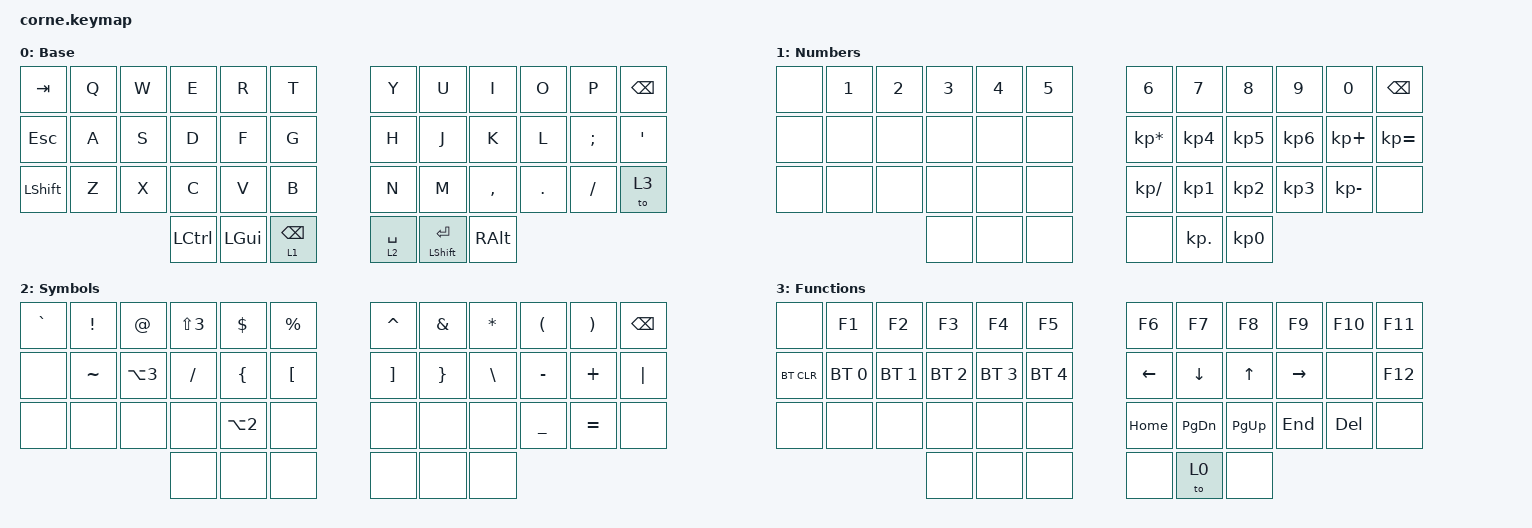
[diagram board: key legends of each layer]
/*
 * Copyright (c) 2020 The ZMK Contributors
 *
 * SPDX-License-Identifier: MIT
 */

#include <behaviors.dtsi>
#include <dt-bindings/zmk/bt.h>
#include <dt-bindings/zmk/keys.h>

/ {
    keymap {
        compatible = "zmk,keymap";

        default_layer {
            // -----------------------------------------------------------------------------------------
            // |  TAB |  Q  |  W  |  E  |  R  |  T  |   |  Y  |  U   |  I  |  O  |  P  | BKSP |
            // | CTRL |  A  |  S  |  D  |  F  |  G  |   |  H  |  J   |  K  |  L  |  ;  |  '   |
            // | SHFT |  Z  |  X  |  C  |  V  |  B  |   |  N  |  M   |  ,  |  .  |  /  | ESC  |
            //                    | GUI | LWR | SPC |   | ENT | RSE  | ALT |

            display-name = "Base";
            bindings = <
&kp TAB     &kp Q  &kp W  &kp E      &kp R         &kp T              &kp Y        &kp U            &kp I      &kp O    &kp P     &kp BSPC
&kp ESCAPE  &kp A  &kp S  &kp D      &kp F         &kp G              &kp H        &kp J            &kp K      &kp L    &kp SEMI  &kp SQT
&kp LSHFT   &kp Z  &kp X  &kp C      &kp V         &kp B              &kp N        &kp M            &kp COMMA  &kp DOT  &kp FSLH  &to 3
                          &kp LCTRL  &kp LEFT_GUI  &lt 1 BACKSPACE    &lt 2 SPACE  &mt LSHFT ENTER  &kp RALT
            >;
        };

        nums {
            // -----------------------------------------------------------------------------------------
            // |  TAB |  !  |  @  |  #  |  $  |  %  |   |  ^  |  &  |  *  |  (  |  )  | BKSP |
            // | CTRL |     |     |     |     |     |   |  -  |  =  |  [  |  ]  |  \  |  `   |
            // | SHFT |     |     |     |     |     |   |  _  |  +  |  {  |  }  | "|" |  ~   |
            //                    | GUI |     | SPC |   | ENT |     | ALT |

            display-name = "Numbers";
            bindings = <
&none  &kp NUMBER_1  &kp NUMBER_2  &kp NUMBER_3  &kp NUMBER_4  &kp NUMBER_5    &kp NUMBER_6     &kp NUMBER_7     &kp NUMBER_8     &kp NUMBER_9     &kp NUMBER_0  &kp BSPC
&none  &none         &none         &none         &none         &none           &kp KP_MULTIPLY  &kp KP_NUMBER_4  &kp KP_NUMBER_5  &kp KP_NUMBER_6  &kp KP_PLUS   &kp KP_EQUAL
&none  &none         &none         &none         &none         &none           &kp KP_DIVIDE    &kp KP_NUMBER_1  &kp KP_NUMBER_2  &kp KP_NUMBER_3  &kp KP_MINUS  &none
                                   &none         &none         &none           &none            &kp KP_DOT       &kp KP_NUMBER_0
            >;
        };

        symbols {
            bindings = <
&kp GRAVE  &kp EXCLAMATION  &kp AT_SIGN       &kp LS(NUMBER_3)  &kp DOLLAR      &kp PERCENT         &kp CARET          &kp AMPERSAND    &kp ASTERISK   &kp LEFT_PARENTHESIS  &kp RIGHT_PARENTHESIS  &kp BACKSPACE
&none      &kp TILDE        &kp LA(NUMBER_3)  &kp SLASH         &kp LEFT_BRACE  &kp LEFT_BRACKET    &kp RIGHT_BRACKET  &kp RIGHT_BRACE  &kp BACKSLASH  &kp MINUS             &kp PLUS               &kp PIPE
&none      &none            &none             &none             &kp LA(N2)      &none               &none              &none            &none          &kp UNDERSCORE        &kp EQUAL              &none
                                              &none             &none           &none               &none              &none            &none
            >;

            label = "Symbols";
        };

        functions {
            // -----------------------------------------------------------------------------------------
            // |  TAB |  1  |  2  |  3  |  4  |  5  |   |  6  |  7  |  8  |  9  |  0  | BKSP |
            // | BTCLR| BT1 | BT2 | BT3 | BT4 | BT5 |   | LFT | DWN |  UP | RGT |     |      |
            // | SHFT |     |     |     |     |     |   |     |     |     |     |     |      |
            //                    | GUI |     | SPC |   | ENT |     | ALT |

            display-name = "Functions";
            bindings = <
&none       &kp F1        &kp F2        &kp F3        &kp F4        &kp F5          &kp F6    &kp F7         &kp F8       &kp F9     &kp F10     &kp F11
&bt BT_CLR  &bt BT_SEL 0  &bt BT_SEL 1  &bt BT_SEL 2  &bt BT_SEL 3  &bt BT_SEL 4    &kp LEFT  &kp DOWN       &kp UP       &kp RIGHT  &none       &kp F12
&none       &none         &none         &none         &none         &none           &kp HOME  &kp PAGE_DOWN  &kp PAGE_UP  &kp END    &kp DELETE  &none
                                        &none         &none         &none           &none     &to 0          &none
            >;
        };
    };
};
